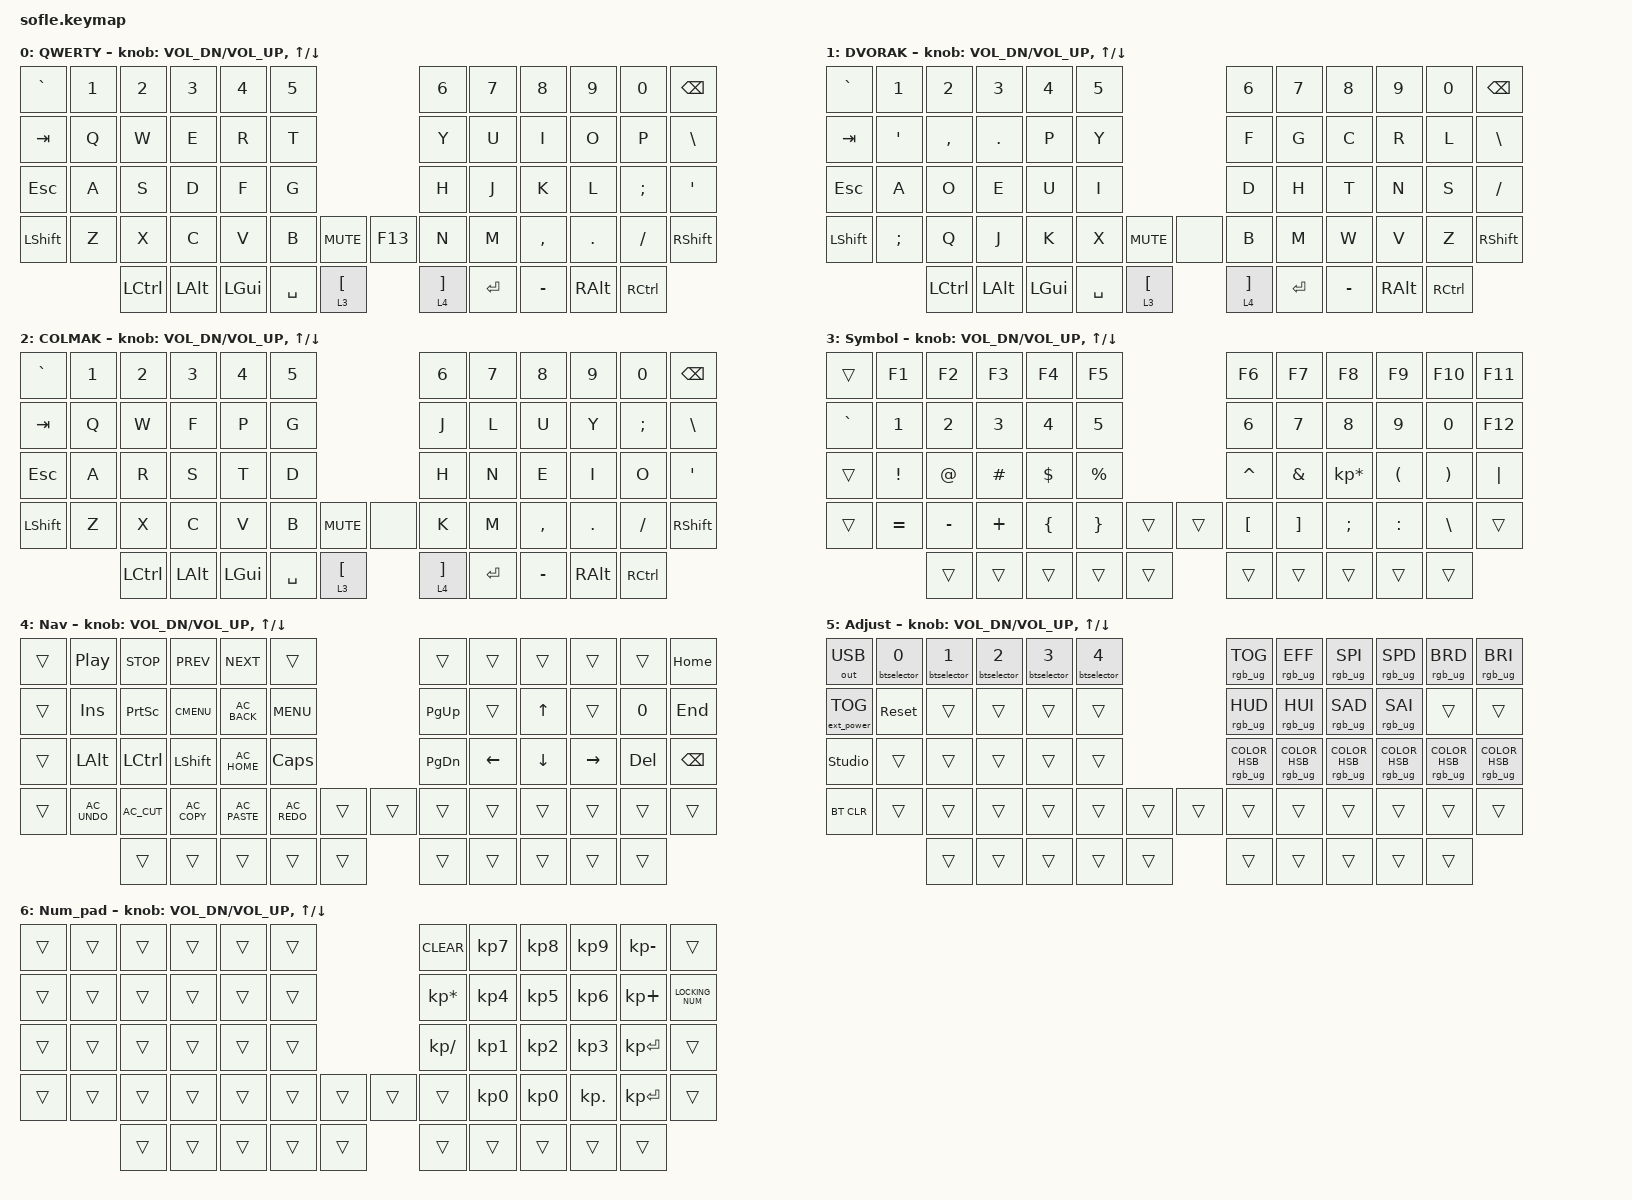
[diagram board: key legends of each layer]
/*
 * Copyright (c) 2020 The ZMK Contributors
 *
 * SPDX-License-Identifier: MIT
 */

#include <behaviors.dtsi>
#include <dt-bindings/zmk/keys.h>
#include <dt-bindings/zmk/outputs.h>
#include <dt-bindings/zmk/bt.h>
#include <dt-bindings/zmk/rgb.h>
#include <dt-bindings/zmk/ext_power.h>

/ {
    conditional_layers {
        compatible = "zmk,conditional-layers";

        tri_layer {
            if-layers = <3 4>;
            then-layer = <5>;
        };
    };

    macros {
        btselector: btselector {
            compatible = "zmk,behavior-macro-one-param";
            #binding-cells = <1>;
            bindings
                = <&out OUT_BLE>
                , <&macro_param_1to2>
                , <&bt BT_SEL MACRO_PLACEHOLDER>
                ;
        };
    };

    combos {
        compatible = "zmk,combos";

        caps_combo {
            bindings = <&kp CAPS>;
            key-positions = <24 12>;
            layers = <0>;
        };

        num_layer {
            bindings = <&tog 6>;
            key-positions = <58 55>;
            layers = <0 1 2 6>;
        };

        dvorak_layer {
            bindings = <&tog 1>;
            key-positions = <36 54>;
        };

        colmak_layer {
            bindings = <&tog 2>;
            key-positions = <36 55>;
        };
    };

    keymap {
        compatible = "zmk,keymap";

        default {
            display-name = "QWERTY";

            // ------------------------------------------------------------------------------------------------------------
            // |  `    |  1  |  2  |  3   |  4   |  5   |                   |  6   |  7    |  8    |  9   |   0   |       |
            // |  ESC  |  Q  |  W  |  E   |  R   |  T   |                   |  Y   |  U    |  I    |  O   |   P   | BKSPC |
            // |  TAB  |  A  |  S  |  D   |  F   |  G   |                   |  H   |  J    |  K    |  L   |   ;   |   '   |
            // | SHIFT |  Z  |  X  |  C   |  V   |  B   |  MUTE  |  |       |  N   |  M    |  ,    |  .   |   /   | SHIFT |
            //               | GUI | ALT  | CTRL | LOWER|  ENTER |  | SPACE | RAISE| CTRL  | ALT   | GUI  |

            bindings = <
     &kp GRAVE  &kp N1     &kp N2    &kp N3    &kp N4     &kp N5                                            &kp N6     &kp N7     &kp N8     &kp N9         &kp N0    &kp BACKSPACE
       &kp TAB   &kp Q      &kp W     &kp E     &kp R      &kp T                                             &kp Y      &kp U      &kp I      &kp O          &kp P    &kp BACKSLASH
       &kp ESC   &kp A      &kp S     &kp D     &kp F      &kp G                                             &kp H      &kp J      &kp K      &kp L  &kp SEMICOLON          &kp SQT
&kp LEFT_SHIFT   &kp Z      &kp X     &kp C     &kp V      &kp B          &kp C_MUTE              &kp F13    &kp N      &kp M  &kp COMMA    &kp DOT       &kp FSLH  &kp RIGHT_SHIFT
                        &kp LCTRL  &kp LALT  &kp LGUI  &kp SPACE  &lt 3 LEFT_BRACKET  &lt 4 RIGHT_BRACKET  &kp RET  &kp MINUS   &kp RALT  &kp RCTRL
            >;

            sensor-bindings = <&inc_dec_kp C_VOL_DN C_VOL_UP &inc_dec_kp UP DOWN>;
        };

        DVORAK {
            display-name = "DVORAK";
            bindings = <
     &kp GRAVE         &kp N1     &kp N2    &kp N3    &kp N4     &kp N5                                            &kp N6     &kp N7    &kp N8     &kp N9  &kp N0    &kp BACKSPACE
       &kp TAB        &kp SQT  &kp COMMA   &kp DOT     &kp P      &kp Y                                             &kp F      &kp G     &kp C      &kp R   &kp L    &kp BACKSLASH
       &kp ESC          &kp A      &kp O     &kp E     &kp U      &kp I                                             &kp D      &kp H     &kp T      &kp N   &kp S         &kp FSLH
&kp LEFT_SHIFT  &kp SEMICOLON      &kp Q     &kp J     &kp K      &kp X          &kp C_MUTE                &none    &kp B      &kp M     &kp W      &kp V   &kp Z  &kp RIGHT_SHIFT
                               &kp LCTRL  &kp LALT  &kp LGUI  &kp SPACE  &lt 3 LEFT_BRACKET  &lt 4 RIGHT_BRACKET  &kp RET  &kp MINUS  &kp RALT  &kp RCTRL
            >;

            sensor-bindings = <&inc_dec_kp C_VOL_DN C_VOL_UP &inc_dec_kp UP DOWN>;
        };

        COLMAK {
            display-name = "COLMAK";
            bindings = <
     &kp GRAVE  &kp N1     &kp N2    &kp N3    &kp N4     &kp N5                                            &kp N6     &kp N7     &kp N8     &kp N9    &kp N0    &kp BACKSPACE
       &kp TAB   &kp Q      &kp W     &kp F     &kp P      &kp G                                             &kp J      &kp L      &kp U      &kp Y  &kp SEMI    &kp BACKSLASH
       &kp ESC   &kp A      &kp R     &kp S     &kp T      &kp D                                             &kp H      &kp N      &kp E      &kp I     &kp O          &kp SQT
&kp LEFT_SHIFT   &kp Z      &kp X     &kp C     &kp V      &kp B          &kp C_MUTE                &none    &kp K      &kp M  &kp COMMA    &kp DOT  &kp FSLH  &kp RIGHT_SHIFT
                        &kp LCTRL  &kp LALT  &kp LGUI  &kp SPACE  &lt 3 LEFT_BRACKET  &lt 4 RIGHT_BRACKET  &kp RET  &kp MINUS   &kp RALT  &kp RCTRL
            >;

            sensor-bindings = <&inc_dec_kp C_VOL_DN C_VOL_UP &inc_dec_kp UP DOWN>;
        };

        symbol {
            display-name = "Symbol";

            // TODO: Some binds are waiting for shifted keycode support.
            // ------------------------------------------------------------------------------------------------------------
            // |       |  F1 |  F2 |  F3  |  F4  |  F5  |                   |  F6  |  F7   |  F8   |  F9  |  F10  |  F11  |
            // | `     |   1 |   2 |   3  |   4  |   5  |                   |   6  |   7   |   8   |   9  |    0  |  F12  |
            // |       |  !  |  @  |  #   |  $   |  %   |                   |  ^   |  &    |  *    |  (   |   )   |   |   |
            // |       |  =  |  -  |  +   |  {   |  }   |        |  |       |  [   |  ]    |  ;    |  :   |   \   |       |
            //               |     |      |      |      |        |  |       |      |       |       |      |

            bindings = <
   &trans     &kp F1     &kp F2       &kp F3    &kp F4     &kp F5                     &kp F6    &kp F7           &kp F8     &kp F9   &kp F10   &kp F11
&kp GRAVE     &kp N1     &kp N2       &kp N3    &kp N4     &kp N5                     &kp N6    &kp N7           &kp N8     &kp N9    &kp N0   &kp F12
   &trans   &kp EXCL     &kp AT     &kp HASH  &kp DLLR  &kp PRCNT                  &kp CARET  &kp AMPS  &kp KP_MULTIPLY   &kp LPAR  &kp RPAR  &kp PIPE
   &trans  &kp EQUAL  &kp MINUS  &kp PLUS  &kp LBRC   &kp RBRC  &trans  &trans   &kp LBKT  &kp RBKT         &kp SEMI  &kp COLON  &kp BSLH    &trans
                         &trans       &trans    &trans     &trans  &trans  &trans     &trans    &trans           &trans     &trans
            >;

            sensor-bindings = <&inc_dec_kp C_VOL_DN C_VOL_UP &inc_dec_kp UP DOWN>;
        };

        Nav {
            display-name = "Nav";

            // ------------------------------------------------------------------------------------------------------------
            // |BTCLR| BT1  | BT2  |  BT3  |  BT4  |  BT5 |                |      |      |       |      |       |       |
            // |     | INS  | PSCR | GUI   |       |      |                | PGUP |      |   ^   |      |       |       |
            // |     | ALT  | CTRL | SHIFT |       | CAPS |                | PGDN |   <- |   v   |  ->  |  DEL  | BKSPC |
            // |     | UNDO | CUT  | COPY  | PASTE |      |      |  |      |      |      |       |      |       |       |
            //              |      |       |       |      |      |  |      |      |      |       |      |

            bindings = <
&trans       &kp C_PP    &kp C_STOP     &kp C_PREV      &kp C_NEXT         &trans                     &trans    &trans    &trans     &trans   &trans  &kp HOME
&trans        &kp INS     &kp PSCRN    &kp K_CMENU   &kp C_AC_BACK     &kp C_MENU                  &kp PG_UP    &trans    &kp UP     &trans   &kp N0   &kp END
&trans       &kp LALT     &kp LCTRL      &kp LSHFT   &kp C_AC_HOME       &kp CLCK                  &kp PG_DN  &kp LEFT  &kp DOWN  &kp RIGHT  &kp DEL  &kp BSPC
&trans  &kp C_AC_UNDO  &kp C_AC_CUT  &kp C_AC_COPY  &kp C_AC_PASTE  &kp C_AC_REDO  &trans  &trans     &trans    &trans    &trans     &trans   &trans    &trans
                             &trans         &trans          &trans         &trans  &trans  &trans     &trans    &trans    &trans     &trans
            >;

            sensor-bindings = <&inc_dec_kp C_VOL_DN C_VOL_UP &inc_dec_kp UP DOWN>;
        };

        Adjust {
            display-name = "Adjust";
            bindings = <
     &out OUT_USB  &btselector 0  &btselector 1  &btselector 2  &btselector 3  &btselector 4                                 &rgb_ug RGB_TOG                  &rgb_ug RGB_EFF                   &rgb_ug RGB_SPI                   &rgb_ug RGB_SPD                   &rgb_ug RGB_BRD                   &rgb_ug RGB_BRI
&ext_power EP_TOG        &sys_reset        &trans        &trans        &trans        &trans                                 &rgb_ug RGB_HUD                  &rgb_ug RGB_HUI                   &rgb_ug RGB_SAD                   &rgb_ug RGB_SAI                            &trans                            &trans
           &studio_unlock        &trans        &trans        &trans        &trans        &trans                  &rgb_ug RGB_COLOR_HSB(0,99,48)  &rgb_ug RGB_COLOR_HSB(55,94,50)  &rgb_ug RGB_COLOR_HSB(122,96,50)  &rgb_ug RGB_COLOR_HSB(179,98,50)  &rgb_ug RGB_COLOR_HSB(238,95,49)  &rgb_ug RGB_COLOR_HSB(299,96,49)
       &bt BT_CLR        &trans        &trans        &trans        &trans        &trans  &trans  &trans                          &trans                           &trans                            &trans                            &trans                            &trans                            &trans
                                       &trans        &trans        &trans        &trans  &trans  &trans                          &trans                           &trans                            &trans                            &trans
            >;

            sensor-bindings = <&inc_dec_kp C_VOL_DN C_VOL_UP &inc_dec_kp UP DOWN>;
        };

        Num {
            display-name = "Num_pad";
            bindings = <
&trans  &trans  &trans  &trans  &trans  &trans                        &kp CLEAR  &kp KP_NUMBER_7  &kp KP_NUMBER_8  &kp KP_NUMBER_9  &kp KP_MINUS  &trans
&trans  &trans  &trans  &trans  &trans  &trans                  &kp KP_MULTIPLY  &kp KP_NUMBER_4  &kp KP_NUMBER_5  &kp KP_NUMBER_6   &kp KP_PLUS  &kp LOCKING_NUM
&trans  &trans  &trans  &trans  &trans  &trans                    &kp KP_DIVIDE  &kp KP_NUMBER_1  &kp KP_NUMBER_2  &kp KP_NUMBER_3  &kp KP_ENTER  &trans
&trans  &trans  &trans  &trans  &trans  &trans  &trans  &trans           &trans  &kp KP_NUMBER_0  &kp KP_NUMBER_0       &kp KP_DOT  &kp KP_ENTER  &trans
                &trans  &trans  &trans  &trans  &trans  &trans           &trans           &trans           &trans           &trans
            >;

        sensor-bindings = <&inc_dec_kp C_VOL_DN C_VOL_UP &inc_dec_kp UP DOWN>;
        };
    };
};
